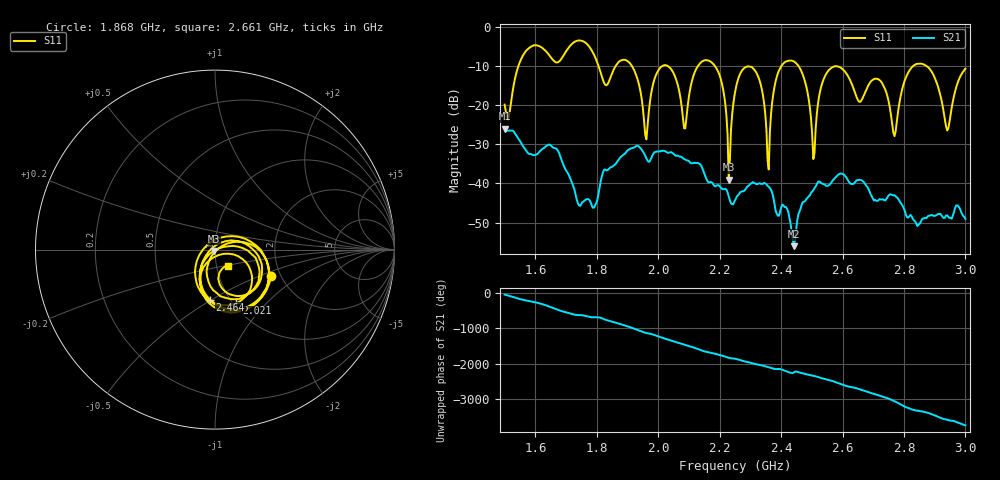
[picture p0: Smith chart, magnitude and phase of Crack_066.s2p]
# HZ S RI R 50
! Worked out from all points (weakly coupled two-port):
!   404 points, 1.5 GHz to 3 GHz, reference 50 ohm
!   highest |S21| = -26.01 dB at 1.5 GHz (marker M1); lowest = -56.0 dB at 2.442 GHz (marker M2)
!   lowest |S11| = -39.0 dB at 2.23 GHz (marker M3), VSWR 1.02, Z = 49.2 - j0.752 ohm
!   |S11| at or under -10 dB: 2.184 GHz to 2.402 GHz (217.6 MHz wide, 9.49 % of centre); 2.456 GHz to 2.831 GHz (375 MHz wide, 14.2 % of centre); 2.872 GHz to end of sweep (the widest 3 of 7)
!   S12 and S22 are empty: the file has one direction only
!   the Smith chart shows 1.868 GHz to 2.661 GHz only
!   S11 on the Smith chart (normalised r, x): 1.868 GHz: 1.78, -0.59; 2.021 GHz: 1.04, -0.69; 2.464 GHz: 0.81, -0.49; 2.661 GHz: 1.13, -0.20
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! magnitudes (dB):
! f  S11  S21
! 1.5 GHz  -19.9  -26.0
! 1.578 GHz  -5.6  -32.4
! 1.753 GHz  -3.7  -44.8
! 1.868 GHz  -9.3  -34.2
! 1.962 GHz  -28.8  -33.6
! 2.002 GHz  -10.9  -31.8
! 2.021 GHz  -9.8  -31.7
! 2.084 GHz  -25.9  -33.8
! 2.181 GHz  -9.7  -40.5
! 2.23 GHz  -39.0  -43.3
! 2.252 GHz  -16.1  -44.1
! 2.315 GHz  -11.2  -40.0
! 2.36 GHz  -36.5  -40.9
! 2.442 GHz  -8.9  -56.0
! 2.464 GHz  -11.1  -46.3
! 2.501 GHz  -27.5  -42.1
! 2.565 GHz  -10.5  -39.7
! 2.661 GHz  -18.8  -39.2
! 2.751 GHz  -19.3  -43.0
! 2.862 GHz  -9.6  -48.9
! 2.94 GHz  -26.5  -48.1
! 3 GHz  -10.7  -49.0
